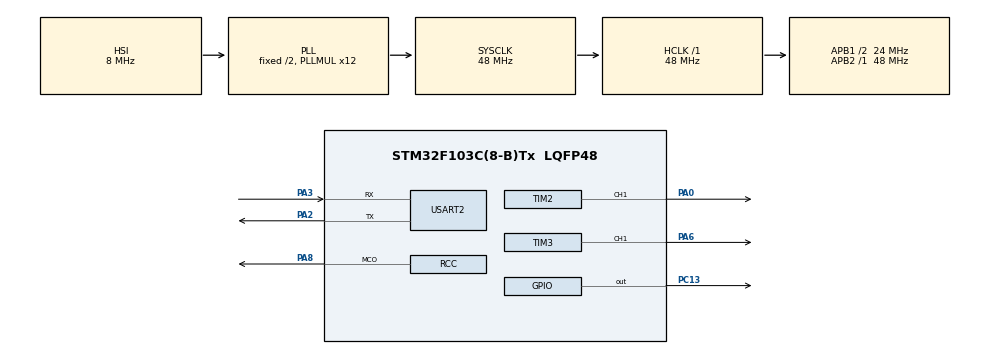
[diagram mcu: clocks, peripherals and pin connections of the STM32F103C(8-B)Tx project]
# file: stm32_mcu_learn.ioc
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Dma.Request0=TIM2_CH1
Dma.Request1=TIM3_CH1/TRIG
Dma.TIM2_CH1.0.Direction=DMA_MEMORY_TO_PERIPH
Dma.TIM2_CH1.0.Instance=DMA1_Channel5
Dma.TIM2_CH1.0.MemDataAlignment=DMA_MDATAALIGN_HALFWORD
Dma.TIM2_CH1.0.MemInc=DMA_MINC_ENABLE
Dma.TIM2_CH1.0.Mode=DMA_CIRCULAR
Dma.TIM2_CH1.0.PeriphDataAlignment=DMA_PDATAALIGN_HALFWORD
Dma.TIM2_CH1.0.PeriphInc=DMA_PINC_DISABLE
Dma.TIM2_CH1.0.Priority=DMA_PRIORITY_LOW
Dma.TIM3_CH1/TRIG.1.Direction=DMA_MEMORY_TO_PERIPH
Dma.TIM3_CH1/TRIG.1.Instance=DMA1_Channel6
Dma.TIM3_CH1/TRIG.1.MemDataAlignment=DMA_MDATAALIGN_HALFWORD
Dma.TIM3_CH1/TRIG.1.MemInc=DMA_MINC_ENABLE
Dma.TIM3_CH1/TRIG.1.Mode=DMA_CIRCULAR
Dma.TIM3_CH1/TRIG.1.PeriphDataAlignment=DMA_PDATAALIGN_HALFWORD
Dma.TIM3_CH1/TRIG.1.PeriphInc=DMA_PINC_DISABLE
Dma.TIM3_CH1/TRIG.1.Priority=DMA_PRIORITY_LOW
Mcu.Family=STM32F1
Mcu.Name=STM32F103C(8-B)Tx
Mcu.Package=LQFP48
NVIC.DMA1_Channel5_IRQn=true\:0\:0\:false\:false\:true\:false\:true\:true
NVIC.DMA1_Channel6_IRQn=true\:0\:0\:false\:false\:true\:false\:true\:true
NVIC.PriorityGroup=NVIC_PRIORITYGROUP_4
PA0-WKUP.Signal=S_TIM2_CH1_ETR
PA13.Mode=Serial_Wire
PA13.Signal=SYS_JTMS-SWDIO
PA14.Mode=Serial_Wire
PA14.Signal=SYS_JTCK-SWCLK
PA2.Mode=Asynchronous
PA2.Signal=USART2_TX
PA3.Mode=Asynchronous
PA3.Signal=USART2_RX
PA6.Signal=S_TIM3_CH1
PA8.Mode=Clock-out
PA8.Signal=RCC_MCO
PC13-TAMPER-RTC.Signal=GPIO_Output
PD0-OSC_IN.Mode=HSE-External-Oscillator
PD0-OSC_IN.Signal=RCC_OSC_IN
PD1-OSC_OUT.Mode=HSE-External-Oscillator
PD1-OSC_OUT.Signal=RCC_OSC_OUT
ProjectManager.HeapSize=0x200
ProjectManager.StackSize=0x400
ProjectManager.TargetToolchain=STM32CubeIDE
RCC.AHBFreq_Value=48000000
RCC.APB1CLKDivider=RCC_HCLK_DIV2
RCC.APB1Freq_Value=24000000
RCC.APB1TimFreq_Value=48000000
RCC.APB2Freq_Value=48000000
RCC.APB2TimFreq_Value=48000000
RCC.HCLKFreq_Value=48000000
RCC.PLLMUL=RCC_PLL_MUL12
RCC.RCC_MCOSource=RCC_MCO1SOURCE_HSI
RCC.SYSCLKFreq_VALUE=48000000
RCC.SYSCLKSource=RCC_SYSCLKSOURCE_PLLCLK
RCC.USBFreq_Value=48000000
SH.S_TIM2_CH1_ETR.0=TIM2_CH1,PWM Generation1 CH1
SH.S_TIM3_CH1.0=TIM3_CH1,PWM Generation1 CH1
TIM2.Channel-PWM\ Generation1\ CH1=TIM_CHANNEL_1
TIM2.Period=199
TIM2.Prescaler=23
TIM3.Channel-PWM\ Generation1\ CH1=TIM_CHANNEL_1
TIM3.Period=199
TIM3.Prescaler=23
USART2.VirtualMode=VM_ASYNC
board=custom

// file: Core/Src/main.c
/* USER CODE BEGIN Header */
/**
  ******************************************************************************
  * @file           : main.c
  * @brief          : Main program body
  ******************************************************************************
  * @attention
  *
  * Copyright (c) 2025 STMicroelectronics.
  * All rights reserved.
  *
  * This software is licensed under terms that can be found in the LICENSE file
  * in the root directory of this software component.
  * If no LICENSE file comes with this software, it is provided AS-IS.
  *
  ******************************************************************************
  */
/* USER CODE END Header */
#include "main.h"

/* USER CODE BEGIN Includes */
#include <string.h>
#include <stdio.h>
#include <stdlib.h>
#include "retarget.h"
#include <math.h>
/* USER CODE END Includes */

TIM_HandleTypeDef htim2;
TIM_HandleTypeDef htim3;
DMA_HandleTypeDef hdma_tim2_ch1;
DMA_HandleTypeDef hdma_tim3_ch1_trig;

UART_HandleTypeDef huart2;

/* USER CODE BEGIN PV */
UART_HandleTypeDef huart2;
DMA_HandleTypeDef hdma_usart2_tx;
DMA_HandleTypeDef hdma_tim1_up;
char msg[] = "Hello STM32 Lovers! This message is transferred in DMA Mode.\r\n";
/* USER CODE END PV */

void SystemClock_Config(void);
static void MX_GPIO_Init(void);
static void MX_DMA_Init(void);
static void MX_USART2_UART_Init(void);
static void MX_TIM2_Init(void);
static void MX_TIM3_Init(void);
/* USER CODE BEGIN PFP */
void SystemClock_Config(void);
static void MX_GPIO_Init(void);
static void MX_USART2_UART_Init(void);
/* USER CODE END PFP */

/* USER CODE BEGIN 0 */
#define PI    3.14159
#define ASR   1.8 //360 / 200 = 1.8
/* USER CODE END 0 */

int main(void)
{

  /* USER CODE BEGIN 1 */
	uint16_t IV[200];
  float angle;
  /* USER CODE END 1 */

  /* MCU Configuration--------------------------------------------------------*/

  /* Reset of all peripherals, Initializes the Flash interface and the Systick. */
  HAL_Init();

  /* Configure the system clock */
  SystemClock_Config();

  /* Initialize all configured peripherals */
  MX_GPIO_Init();
  MX_DMA_Init();
  MX_USART2_UART_Init();
  MX_TIM2_Init();
  MX_TIM3_Init();
  /* USER CODE BEGIN 2 */
  /* Enables retarget of standard I/O over the USART2 */
  RetargetInit(&huart2);
  printf("\033[0;0H"); // set cursor
  printf("\033[2J"); // clear screen
  printf("Wellcom to stm32f103c8t6 blue pill board!\r\n");

  for (uint8_t i = 0; i < 200; i++) {
    angle = ASR*(float)i;
    IV[i] = (uint16_t) rint(100 + 99*sinf(angle*(PI/180))); //每步進之脈衝的period
    printf("IV[%d]=%d\r\n", i, IV[i]);
  }

  // 每200個脈衝為一PWM週期
  HAL_TIM_PWM_Start_DMA(&htim3, TIM_CHANNEL_1, (uint32_t *)IV, 200);

  HAL_Delay(10);
  /* USER CODE END 2 */

  /* Infinite loop */
  while (1)
  {
    /* code */;
  }

}

void SystemClock_Config(void)
{
  RCC_OscInitTypeDef RCC_OscInitStruct = {0};
  RCC_ClkInitTypeDef RCC_ClkInitStruct = {0};

  /** Initializes the RCC Oscillators according to the specified parameters
  * in the RCC_OscInitTypeDef structure.
  */
  RCC_OscInitStruct.OscillatorType = RCC_OSCILLATORTYPE_HSI;
  RCC_OscInitStruct.HSIState = RCC_HSI_ON;
  RCC_OscInitStruct.HSICalibrationValue = RCC_HSICALIBRATION_DEFAULT;
  RCC_OscInitStruct.PLL.PLLState = RCC_PLL_ON;
  RCC_OscInitStruct.PLL.PLLSource = RCC_PLLSOURCE_HSI_DIV2;
  RCC_OscInitStruct.PLL.PLLMUL = RCC_PLL_MUL12;
  if (HAL_RCC_OscConfig(&RCC_OscInitStruct) != HAL_OK)
  {
    Error_Handler();
  }

  /** Initializes the CPU, AHB and APB buses clocks
  */
  RCC_ClkInitStruct.ClockType = RCC_CLOCKTYPE_HCLK|RCC_CLOCKTYPE_SYSCLK
                              |RCC_CLOCKTYPE_PCLK1|RCC_CLOCKTYPE_PCLK2;
  RCC_ClkInitStruct.SYSCLKSource = RCC_SYSCLKSOURCE_PLLCLK;
  RCC_ClkInitStruct.AHBCLKDivider = RCC_SYSCLK_DIV1;
  RCC_ClkInitStruct.APB1CLKDivider = RCC_HCLK_DIV2;
  RCC_ClkInitStruct.APB2CLKDivider = RCC_HCLK_DIV1;

  if (HAL_RCC_ClockConfig(&RCC_ClkInitStruct, FLASH_LATENCY_1) != HAL_OK)
  {
    Error_Handler();
  }
  HAL_RCC_MCOConfig(RCC_MCO, RCC_MCO1SOURCE_HSI, RCC_MCODIV_1);
}

static void MX_TIM2_Init(void)
{

  TIM_MasterConfigTypeDef sMasterConfig = {0};
  TIM_OC_InitTypeDef sConfigOC = {0};

  htim2.Instance = TIM2;
  htim2.Init.Prescaler = 23;
  htim2.Init.CounterMode = TIM_COUNTERMODE_UP;
  htim2.Init.Period = 199;
  htim2.Init.ClockDivision = TIM_CLOCKDIVISION_DIV1;
  htim2.Init.AutoReloadPreload = TIM_AUTORELOAD_PRELOAD_DISABLE;
  if (HAL_TIM_PWM_Init(&htim2) != HAL_OK)
  {
    Error_Handler();
  }
  sMasterConfig.MasterOutputTrigger = TIM_TRGO_RESET;
  sMasterConfig.MasterSlaveMode = TIM_MASTERSLAVEMODE_DISABLE;
  if (HAL_TIMEx_MasterConfigSynchronization(&htim2, &sMasterConfig) != HAL_OK)
  {
    Error_Handler();
  }
  sConfigOC.OCMode = TIM_OCMODE_PWM1;
  sConfigOC.Pulse = 0;
  sConfigOC.OCPolarity = TIM_OCPOLARITY_HIGH;
  sConfigOC.OCFastMode = TIM_OCFAST_DISABLE;
  if (HAL_TIM_PWM_ConfigChannel(&htim2, &sConfigOC, TIM_CHANNEL_1) != HAL_OK)
  {
    Error_Handler();
  }
  HAL_TIM_MspPostInit(&htim2);

}

static void MX_TIM3_Init(void)
{

  TIM_MasterConfigTypeDef sMasterConfig = {0};
  TIM_OC_InitTypeDef sConfigOC = {0};

  htim3.Instance = TIM3;
  htim3.Init.Prescaler = 23; // by fpwm = (TIMx_CLK/((Prescaler+1)*(Period+1)))
  htim3.Init.CounterMode = TIM_COUNTERMODE_UP;
  htim3.Init.Period = 199; // 取決於 (360度/角解析度)=PWM一週期需多少個脈衝=每個脈衝period變化的上限
  htim3.Init.ClockDivision = TIM_CLOCKDIVISION_DIV1;
  htim3.Init.AutoReloadPreload = TIM_AUTORELOAD_PRELOAD_DISABLE;
  if (HAL_TIM_PWM_Init(&htim3) != HAL_OK)
  {
    Error_Handler();
  }
  sMasterConfig.MasterOutputTrigger = TIM_TRGO_RESET;
  sMasterConfig.MasterSlaveMode = TIM_MASTERSLAVEMODE_DISABLE;
  if (HAL_TIMEx_MasterConfigSynchronization(&htim3, &sMasterConfig) != HAL_OK)
  {
    Error_Handler();
  }
  sConfigOC.OCMode = TIM_OCMODE_PWM1;
  sConfigOC.Pulse = 0;
  sConfigOC.OCPolarity = TIM_OCPOLARITY_HIGH;
  sConfigOC.OCFastMode = TIM_OCFAST_DISABLE;
  if (HAL_TIM_PWM_ConfigChannel(&htim3, &sConfigOC, TIM_CHANNEL_1) != HAL_OK)
  {
    Error_Handler();
  }
  HAL_TIM_MspPostInit(&htim3);

}

static void MX_USART2_UART_Init(void)
{

  huart2.Instance = USART2;
  huart2.Init.BaudRate = 115200;
  huart2.Init.WordLength = UART_WORDLENGTH_8B;
  huart2.Init.StopBits = UART_STOPBITS_1;
  huart2.Init.Parity = UART_PARITY_NONE;
  huart2.Init.Mode = UART_MODE_TX_RX;
  huart2.Init.HwFlowCtl = UART_HWCONTROL_NONE;
  huart2.Init.OverSampling = UART_OVERSAMPLING_16;
  if (HAL_UART_Init(&huart2) != HAL_OK)
  {
    Error_Handler();
  }
  /* USER CODE BEGIN USART2_Init 2 */
  //HAL_NVIC_SetPriority(USART2_IRQn, 0, 0);
  //HAL_NVIC_EnableIRQ(USART2_IRQn);
  /* USER CODE END USART2_Init 2 */

}

static void MX_DMA_Init(void)
{

  /* DMA controller clock enable */
  __HAL_RCC_DMA1_CLK_ENABLE();

  /* DMA interrupt init */
  /* DMA1_Channel5_IRQn interrupt configuration */
  HAL_NVIC_SetPriority(DMA1_Channel5_IRQn, 0, 0);
  HAL_NVIC_EnableIRQ(DMA1_Channel5_IRQn);
  /* DMA1_Channel6_IRQn interrupt configuration */
  HAL_NVIC_SetPriority(DMA1_Channel6_IRQn, 0, 0);
  HAL_NVIC_EnableIRQ(DMA1_Channel6_IRQn);

}

static void MX_GPIO_Init(void)
{
  GPIO_InitTypeDef GPIO_InitStruct = {0};

  /* GPIO Ports Clock Enable */
  __HAL_RCC_GPIOC_CLK_ENABLE();
  __HAL_RCC_GPIOD_CLK_ENABLE();
  __HAL_RCC_GPIOA_CLK_ENABLE();

  /*Configure GPIO pin Output Level */
  HAL_GPIO_WritePin(GPIOC, GPIO_PIN_13, GPIO_PIN_RESET);

  /*Configure GPIO pin : PC13 */
  GPIO_InitStruct.Pin = GPIO_PIN_13;
  GPIO_InitStruct.Mode = GPIO_MODE_OUTPUT_PP;
  GPIO_InitStruct.Pull = GPIO_NOPULL;
  GPIO_InitStruct.Speed = GPIO_SPEED_FREQ_LOW;
  HAL_GPIO_Init(GPIOC, &GPIO_InitStruct);

  /*Configure GPIO pin : PA8 */
  GPIO_InitStruct.Pin = GPIO_PIN_8;
  GPIO_InitStruct.Mode = GPIO_MODE_AF_PP;
  GPIO_InitStruct.Speed = GPIO_SPEED_FREQ_LOW;
  HAL_GPIO_Init(GPIOA, &GPIO_InitStruct);

}

void Error_Handler(void)
{
  __disable_irq();
  while (1)
  {
  }
}
